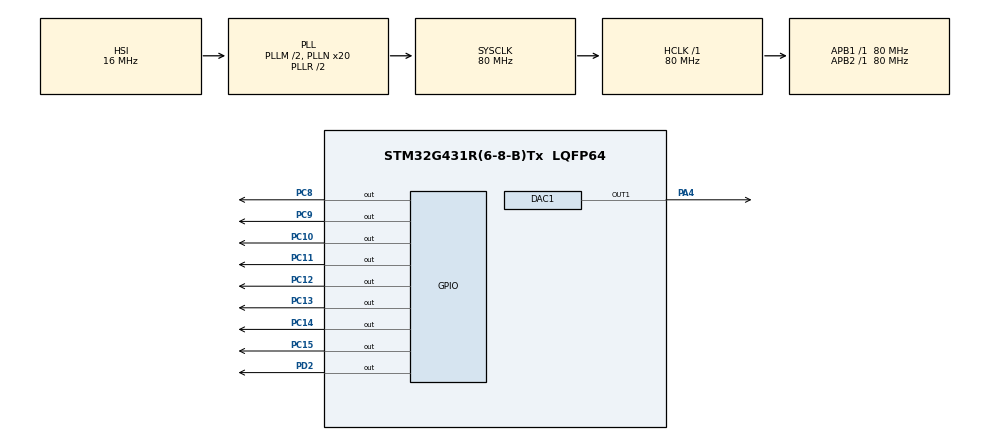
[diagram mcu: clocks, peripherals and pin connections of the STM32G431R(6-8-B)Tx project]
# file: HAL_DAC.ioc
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Mcu.Family=STM32G4
Mcu.Name=STM32G431R(6-8-B)Tx
Mcu.Package=LQFP64
NVIC.PriorityGroup=NVIC_PRIORITYGROUP_4
PA4.Signal=COMP_DAC11_group
PC10.Signal=GPIO_Output
PC11.Signal=GPIO_Output
PC12.Signal=GPIO_Output
PC13.Signal=GPIO_Output
PC14-OSC32_IN.Signal=GPIO_Output
PC15-OSC32_OUT.Signal=GPIO_Output
PC8.Signal=GPIO_Output
PC9.Signal=GPIO_Output
PD2.Signal=GPIO_Output
PF0-OSC_IN.Mode=HSE-External-Oscillator
PF0-OSC_IN.Signal=RCC_OSC_IN
PF1-OSC_OUT.Mode=HSE-External-Oscillator
PF1-OSC_OUT.Signal=RCC_OSC_OUT
ProjectManager.HeapSize=0x200
ProjectManager.StackSize=0x400
ProjectManager.TargetToolchain=MDK-ARM V5.27
RCC.ADC12Freq_Value=80000000
RCC.AHBFreq_Value=80000000
RCC.APB1Freq_Value=80000000
RCC.APB1TimFreq_Value=80000000
RCC.APB2Freq_Value=80000000
RCC.APB2TimFreq_Value=80000000
RCC.CortexFreq_Value=80000000
RCC.EXTERNAL_CLOCK_VALUE=12288000
RCC.HCLKFreq_Value=80000000
RCC.HSE_VALUE=24000000
RCC.HSI48_VALUE=48000000
RCC.HSI_VALUE=16000000
RCC.LSE_VALUE=32768
RCC.PLLM=RCC_PLLM_DIV2
RCC.PLLN=20
RCC.SYSCLKFreq_VALUE=80000000
RCC.SYSCLKSource=RCC_SYSCLKSOURCE_PLLCLK
RCC.USBFreq_Value=80000000
RCC.VCOOutputFreq_Value=160000000
SH.COMP_DAC11_group.0=DAC1_OUT1,DAC_OUT1
VP_SYS_VS_DBSignals.Mode=DisableDeadBatterySignals
board=custom

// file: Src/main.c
/* USER CODE BEGIN Header */
/**
  ******************************************************************************
  * @file           : main.c
  * @brief          : Main program body
  ******************************************************************************
  * @attention
  *
  * <h2><center>&copy; Copyright (c) 2021 STMicroelectronics.
  * All rights reserved.</center></h2>
  *
  * This software component is licensed by ST under BSD 3-Clause license,
  * the "License"; You may not use this file except in compliance with the
  * License. You may obtain a copy of the License at:
  *                        opensource.org/licenses/BSD-3-Clause
  *
  ******************************************************************************
  */
/* USER CODE END Header */

#include "main.h"

DAC_HandleTypeDef hdac1;

void SystemClock_Config(void);
static void MX_GPIO_Init(void);
static void MX_DAC1_Init(void);

/* USER CODE BEGIN 0 */
void Dac1_Set_Vol(float vol)
{
	uint16_t temp;

	temp = (4096*vol/3.3f);

	HAL_DAC_SetValue(&hdac1, DAC_CHANNEL_1,DAC_ALIGN_12B_R,temp);
}
/* USER CODE END 0 */

int main(void)
{

  /* MCU Configuration--------------------------------------------------------*/

  /* Reset of all peripherals, Initializes the Flash interface and the Systick. */
  HAL_Init();

  /* Configure the system clock */
  SystemClock_Config();

  /* Initialize all configured peripherals */
  MX_GPIO_Init();
  MX_DAC1_Init();
  /* USER CODE BEGIN 2 */
	LCD_Init();

	LCD_Clear(Blue);
	LCD_SetBackColor(Blue);
	LCD_SetTextColor(White);

	LCD_DisplayStringLine(Line0, (uint8_t *)"                    ");
	LCD_DisplayStringLine(Line1, (uint8_t *)"                    ");
	LCD_DisplayStringLine(Line2, (uint8_t *)"      DAC Test      ");
	LCD_DisplayStringLine(Line3, (uint8_t *)"                    ");
	LCD_DisplayStringLine(Line4, (uint8_t *)"                    ");

	LCD_SetBackColor(White);
	LCD_SetTextColor(Blue);

	LCD_DisplayStringLine(Line5, (uint8_t *)"                    ");
	LCD_DisplayStringLine(Line6, (uint8_t *)"       DA1 CH1      ");
	LCD_DisplayStringLine(Line7, (uint8_t *)"                    ");
	LCD_DisplayStringLine(Line8, (uint8_t *)"     PA4: 2.55V     ");
	LCD_DisplayStringLine(Line9, (uint8_t *)"                    ");
  /* USER CODE END 2 */

  /* Infinite loop */
  /* USER CODE BEGIN WHILE */
	Dac1_Set_Vol(2.55);
  /* USER CODE END 2 */

  /* Infinite loop */
  /* USER CODE BEGIN WHILE */
  while (1)
  {
    /* USER CODE END WHILE */

  }
}

void SystemClock_Config(void)
{
  RCC_OscInitTypeDef RCC_OscInitStruct = {0};
  RCC_ClkInitTypeDef RCC_ClkInitStruct = {0};

  /** Configure the main internal regulator output voltage
  */
  HAL_PWREx_ControlVoltageScaling(PWR_REGULATOR_VOLTAGE_SCALE1);
  /** Initializes the CPU, AHB and APB busses clocks
  */
  RCC_OscInitStruct.OscillatorType = RCC_OSCILLATORTYPE_HSI;
  RCC_OscInitStruct.HSIState = RCC_HSI_ON;
  RCC_OscInitStruct.HSICalibrationValue = RCC_HSICALIBRATION_DEFAULT;
  RCC_OscInitStruct.PLL.PLLState = RCC_PLL_ON;
  RCC_OscInitStruct.PLL.PLLSource = RCC_PLLSOURCE_HSI;
  RCC_OscInitStruct.PLL.PLLM = RCC_PLLM_DIV2;
  RCC_OscInitStruct.PLL.PLLN = 20;
  RCC_OscInitStruct.PLL.PLLP = RCC_PLLP_DIV2;
  RCC_OscInitStruct.PLL.PLLQ = RCC_PLLQ_DIV2;
  RCC_OscInitStruct.PLL.PLLR = RCC_PLLR_DIV2;
  if (HAL_RCC_OscConfig(&RCC_OscInitStruct) != HAL_OK)
  {
    Error_Handler();
  }
  /** Initializes the CPU, AHB and APB busses clocks
  */
  RCC_ClkInitStruct.ClockType = RCC_CLOCKTYPE_HCLK|RCC_CLOCKTYPE_SYSCLK
                              |RCC_CLOCKTYPE_PCLK1|RCC_CLOCKTYPE_PCLK2;
  RCC_ClkInitStruct.SYSCLKSource = RCC_SYSCLKSOURCE_PLLCLK;
  RCC_ClkInitStruct.AHBCLKDivider = RCC_SYSCLK_DIV1;
  RCC_ClkInitStruct.APB1CLKDivider = RCC_HCLK_DIV1;
  RCC_ClkInitStruct.APB2CLKDivider = RCC_HCLK_DIV1;

  if (HAL_RCC_ClockConfig(&RCC_ClkInitStruct, FLASH_LATENCY_3) != HAL_OK)
  {
    Error_Handler();
  }
}

static void MX_DAC1_Init(void)
{

  DAC_ChannelConfTypeDef sConfig = {0};

  /** DAC Initialization
  */
  hdac1.Instance = DAC1;
  if (HAL_DAC_Init(&hdac1) != HAL_OK)
  {
    Error_Handler();
  }
  /** DAC channel OUT1 config
  */
  sConfig.DAC_HighFrequency = DAC_HIGH_FREQUENCY_INTERFACE_MODE_AUTOMATIC;
  sConfig.DAC_DMADoubleDataMode = DISABLE;
  sConfig.DAC_SignedFormat = DISABLE;
  sConfig.DAC_SampleAndHold = DAC_SAMPLEANDHOLD_DISABLE;
  sConfig.DAC_Trigger = DAC_TRIGGER_NONE;
  sConfig.DAC_Trigger2 = DAC_TRIGGER_NONE;
  sConfig.DAC_OutputBuffer = DAC_OUTPUTBUFFER_ENABLE;
  sConfig.DAC_ConnectOnChipPeripheral = DAC_CHIPCONNECT_DISABLE;
  sConfig.DAC_UserTrimming = DAC_TRIMMING_FACTORY;
  if (HAL_DAC_ConfigChannel(&hdac1, &sConfig, DAC_CHANNEL_1) != HAL_OK)
  {
    Error_Handler();
  }
  /* USER CODE BEGIN DAC1_Init 2 */
	HAL_DAC_Start(&hdac1, DAC_CHANNEL_1);
  /* USER CODE END DAC1_Init 2 */

}

static void MX_GPIO_Init(void)
{
  GPIO_InitTypeDef GPIO_InitStruct = {0};

  /* GPIO Ports Clock Enable */
  __HAL_RCC_GPIOC_CLK_ENABLE();
  __HAL_RCC_GPIOF_CLK_ENABLE();
  __HAL_RCC_GPIOA_CLK_ENABLE();
  __HAL_RCC_GPIOD_CLK_ENABLE();

  /*Configure GPIO pin Output Level */
  HAL_GPIO_WritePin(GPIOC, GPIO_PIN_13|GPIO_PIN_14|GPIO_PIN_15|GPIO_PIN_8
                          |GPIO_PIN_9|GPIO_PIN_10|GPIO_PIN_11|GPIO_PIN_12, GPIO_PIN_RESET);

  /*Configure GPIO pin Output Level */
  HAL_GPIO_WritePin(GPIOD, GPIO_PIN_2, GPIO_PIN_RESET);

  /*Configure GPIO pins : PC13 PC14 PC15 PC8
                           PC9 PC10 PC11 PC12 */
  GPIO_InitStruct.Pin = GPIO_PIN_13|GPIO_PIN_14|GPIO_PIN_15|GPIO_PIN_8
                          |GPIO_PIN_9|GPIO_PIN_10|GPIO_PIN_11|GPIO_PIN_12;
  GPIO_InitStruct.Mode = GPIO_MODE_OUTPUT_PP;
  GPIO_InitStruct.Pull = GPIO_NOPULL;
  GPIO_InitStruct.Speed = GPIO_SPEED_FREQ_LOW;
  HAL_GPIO_Init(GPIOC, &GPIO_InitStruct);

  /*Configure GPIO pin : PD2 */
  GPIO_InitStruct.Pin = GPIO_PIN_2;
  GPIO_InitStruct.Mode = GPIO_MODE_OUTPUT_PP;
  GPIO_InitStruct.Pull = GPIO_NOPULL;
  GPIO_InitStruct.Speed = GPIO_SPEED_FREQ_LOW;
  HAL_GPIO_Init(GPIOD, &GPIO_InitStruct);

}

void Error_Handler(void)
{
}

/************************ (C) COPYRIGHT STMicroelectronics *****END OF FILE****/
